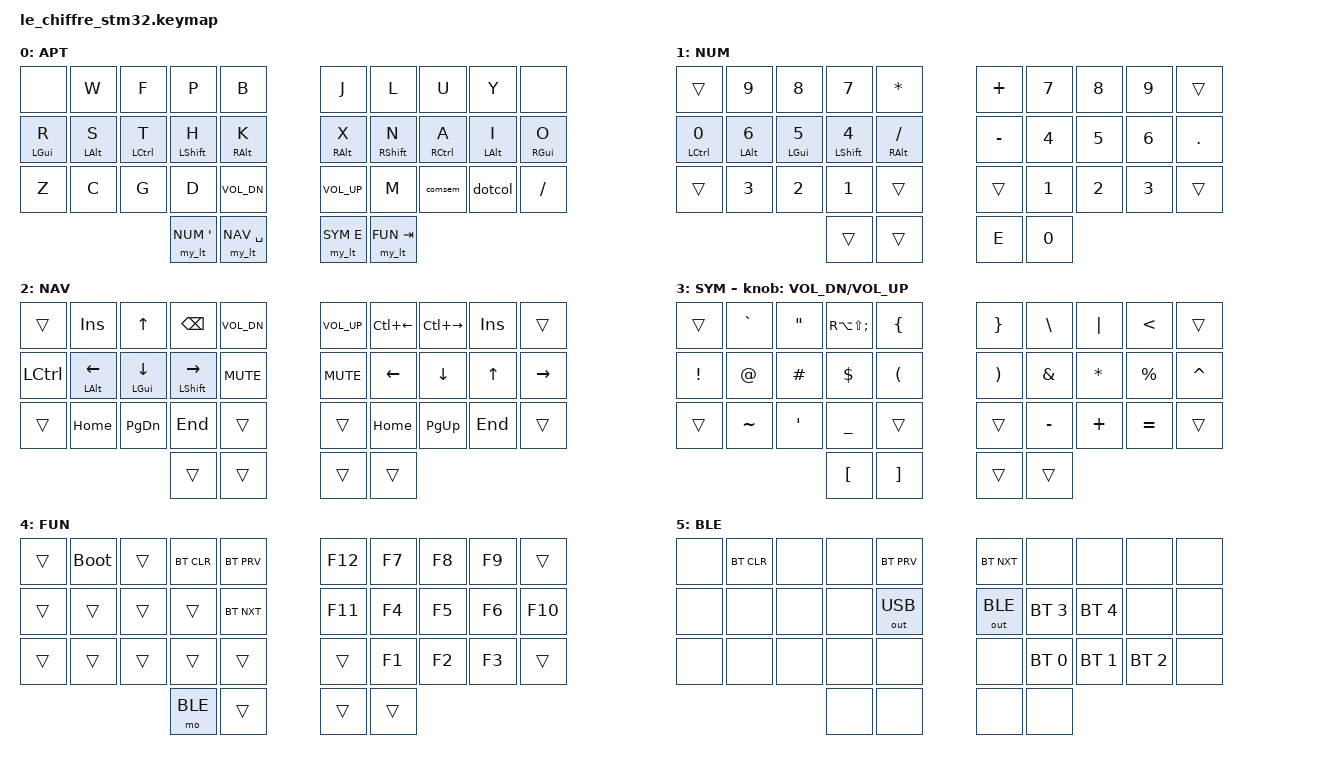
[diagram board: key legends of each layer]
#include <behaviors.dtsi>
#include <dt-bindings/zmk/keys.h>
#include <dt-bindings/zmk/bt.h>
#include <dt-bindings/zmk/outputs.h>

//  _____________________________       _____________________________
// /  0  |  1  |  2  |  3  |  4  \     /  5  |  6  |  7  |  8  |  9  \
// | 10  | 11  | 12  | 13  | 14  | ___ | 15  | 16  | 17  | 18  | 19  |
// \ 20  | 21  | 22  | 23  | 24  ||25 || 26  | 27  | 28  | 29  | 30 /
//         \   31    |    32     /     \    33     |   34    /
//          ---------------------       --------------------

#define APT 0
#define NUM 1
#define NAV 2
#define SYM 3
#define FUN 4
#define BLE 5

// &lt {
//     quick_tap_ms = <170>;
// };

&caps_word {
    continue-list = <UNDERSCORE MINUS BSPC LSHFT RSHFT>;
};

/ {
    macros {
        macro_sch: macro_sch {
            label = "Macro_sch";
            compatible = "zmk,behavior-macro";
            #binding-cells = <0>;
            bindings = <
		    &macro_tap &kp S
		    &macro_release &kp RSHIFT
		    &macro_tap &kp C &kp H
	    >;
        };
    };
};


#define COMBO(NAME, BINDINGS, KEYPOS) \
combo_##NAME { \
    timeout-ms = <20>; \
    bindings = <BINDINGS>; \
    key-positions = <KEYPOS>; \
};

/ {
    combos {
        compatible = "zmk,combos";
/* usually on base layer */
        COMBO(q, &kp Q, 2 3)
        COMBO(z, &kp Z, 21 22)
        COMBO(v, &kp V, 1 2)
        COMBO(sch, &macro_sch, 1 3)
        COMBO(slash, &kp SLASH, 27 28)
        COMBO(dash, &kp MINUS, 26 27)
        COMBO(enter, &kp ENTER, 26 17)
        COMBO(esc, &kp ESC, 22 23)
/* parentheticals */
        COMBO(lbrc, &kp LBRC, 1 11)
        COMBO(lbkt, &kp LBKT, 2 12)
        COMBO(lpar, &kp LPAR, 3 13)
        COMBO(lt, &kp LT, 4 14)
        COMBO(gt, &kp GT, 5 15)
        COMBO(rpar, &kp RPAR, 6 16)
        COMBO(rbkt, &kp RBKT, 7 17)
        COMBO(rbrc, &kp RBRC, 8 18)
/* caps */
        COMBO(caps, &caps_word, 13 16)
        COMBO(capslock, &kp CAPSLOCK, 1 8)
/* deletion */
        COMBO(bspc, &kp BSPC, 12 13)
        COMBO(del, &kp DEL, 7 8)
        COMBO(delword, &kp LC(BSPC), 16 17)
/* alternative shifting */
//  _____________________________       _____________________________
// /  0  |  1  |  2  |  3  |  4  \     /  5  |  6  |  7  |  8  |  9  \
// | 10  | 11  | 12  | 13  | 14  | ___ | 15  | 16  | 17  | 18  | 19  |
// \ 20  | 21  | 22  | 23  | 24  ||   || 25  | 26  | 27  | 28  | 29 /
//         \   30    |    31     /     \    32     |   33    /
//          ---------------------       --------------------
       /* COMBO(Sq, &kp LS(Q), 2 3 32)
        COMBO(Sz, &kp LS(Z), 21 22 32)
        COMBO(Sv, &kp LS(V), 1 2 32)
        COMBO(Sw, &kp LS(W), 1 32)
        COMBO(Sf, &kp LS(F), 2 32)
        COMBO(Sp, &kp LS(P), 3 32)
        COMBO(Sb, &kp LS(B), 4 32)
        COMBO(Sj, &kp LS(J), 5 33)
        COMBO(Sl, &kp LS(L), 6 33)
        COMBO(Su, &kp LS(U), 7 33)
        COMBO(Sy, &kp LS(Y), 8 33)
        COMBO(Sr, &kp LS(R), 10 32)
        COMBO(Ss, &kp LS(S), 11 32)
        COMBO(St, &kp LS(T), 12 32)
        COMBO(Sh, &kp LS(H), 13 32)
        COMBO(Sk, &kp LS(K), 14 32)
        COMBO(Sx, &kp LS(X), 15 33)
        COMBO(Sn, &kp LS(N), 16 33)
        COMBO(Sa, &kp LS(A), 17 33)
        COMBO(Si, &kp LS(I), 18 33)
        COMBO(So, &kp LS(O), 19 33)
        COMBO(Sc, &kp LS(C), 21 32)
        COMBO(Sg, &kp LS(G), 22 32)
        COMBO(Sd, &kp LS(D), 23 32)
        COMBO(Sm, &kp LS(M), 27 33)
        COMBO(Scomma, &kp SEMI, 28 33)
        COMBO(Sdot, &kp COLON, 29 33)
        COMBO(Se, &kp LS(E), 16 17 33)*/
    };
};


/ {

    behaviors {
        hl: homerow_mods_left {
            compatible = "zmk,behavior-hold-tap";
            label = "homerow mods left";
            #binding-cells = <2>;
            // flavor = "tap-preferred";
            flavor = "balanced";
            tapping-term-ms = <150>;
            quick-tap-ms = <100>;
            // global-quick-tap;
            bindings = <&kp>, <&kp>;
            // opposite side hand keys
            hold-trigger-key-positions = <5 6 7 8 9 15 16 17 18 19 25 26 27 28 29 30 33 34>;
        };
        hr: homerow_mods_right {
            compatible = "zmk,behavior-hold-tap";
            label = "homerow mods right";
            #binding-cells = <2>;
            // flavor = "tap-preferred";
            flavor = "balanced";
            tapping-term-ms = <150>;
            quick-tap-ms = <100>;
            // global-quick-tap;
            bindings = <&kp>, <&kp>;
            // opposite side hand keys
            hold-trigger-key-positions = <0 1 2 3 4 10 11 12 13 14 20 21 22 23 24 25 31 32>;
        };

        my_lt: my_layer_taps {
            compatible = "zmk,behavior-hold-tap";
            label = "my layer taps";
            #binding-cells = <2>;
            // flavor = "tap-preferred";
            flavor = "balanced";
            tapping-term-ms = <150>;
            quick-tap-ms = <100>;
            // global-quick-tap;
            bindings = <&mo &kp>, <&kp>;
            // non-thumb keys
            // hold-trigger-key-positions = <0 1 2 3 4 5 6 7 8 9 10 11 12 13 14 15 16 17 18 19 20 21 22 23>;
        };

        dotcol: dot_colon {
            compatible = "zmk,behavior-mod-morph";
            label = "DOT_COL";
            #binding-cells = <0>;
            bindings = <&kp DOT>, <&kp COLON>;
            mods = <(MOD_LSFT|MOD_RSFT)>;
        };
        comsem: comma_semicolon {
            compatible = "zmk,behavior-mod-morph";
            label = "COM_SEM";
            #binding-cells = <0>;
            bindings = <&kp COMMA>, <&kp SEMI>;
            mods = <(MOD_LSFT|MOD_RSFT)>;
        };
    };
};

//  _____________________________       _____________________________
// /  0  |  1  |  2  |  3  |  4  \     /  5  |  6  |  7  |  8  |  9  \
// | 10  | 11  | 12  | 13  | 14  | ___ | 15  | 16  | 17  | 18  | 19  |
// \ 20  | 21  | 22  | 23  | 24  ||25 || 26  | 27  | 28  | 29  | 30 /
//         \   31    |    32     /     \    33     |   34    /
//          ---------------------       --------------------

/ {

    keymap {
        compatible = "zmk,keymap";

        aptmak {
            label = "APT";

            bindings = <
                &none          &kp W          &kp F          &kp P          &kp B                           &kp J          &kp L          &kp U          &kp Y          &none
                &hl LGUI R    &hl LALT S     &hl LCTRL T     &hl LSHFT H    &hl RALT K                      &hr RALT X     &hr RSHFT N    &hr RCTRL A     &hr LALT I     &hr RGUI O
                &kp Z          &kp C          &kp G          &kp D          &kp C_VOL_DN                    &kp C_VOL_UP   &kp M          &comsem        &dotcol        &kp FSLH
                                                             &my_lt NUM SQT &my_lt NAV SPACE                &my_lt SYM E   &my_lt FUN TAB
            >;
			//sensor-bindings = <&inc_dec_kp C_VOL_DN C_VOL_UP>;
        };
        numbers {
            label = "NUM";

            bindings = <
                &trans         &kp N9         &kp N8         &kp N7         &kp ASTERISK                  &kp PLUS       &kp N7         &kp N8         &kp N9         &trans
                &hl LCTRL N0   &hl LALT N6    &hl LGUI N5    &hl LSHFT N4   &hl RALT SLASH                &kp MINUS      &kp N4         &kp N5         &kp N6         &kp DOT
                &trans         &kp N3         &kp N2         &kp N1         &trans                  &trans         &kp N1         &kp N2         &kp N3         &trans
                                                             &trans         &trans                        &kp E          &kp N0
            >;
			//sensor-bindings = <&inc_dec_kp C_VOL_DN C_VOL_UP>;
        };
        navigation {
            label = "NAV";

            bindings = <
                &trans         &kp INSERT     &kp UP         &kp BSPC        &kp C_VOL_DN                 &kp C_VOL_UP   &kp LC(LEFT)   &kp LC(RIGHT)  &kp INSERT     &trans
                &kp LCTRL      &hl LALT LEFT  &hl LGUI DOWN  &hl LSHFT RIGHT &kp C_MUTE                   &kp C_MUTE     &kp LEFT       &kp DOWN       &kp UP         &kp RIGHT
                &trans         &kp HOME       &kp PG_DN      &kp END         &trans                       &trans         &kp HOME       &kp PG_UP      &kp END        &trans
                                                             &trans          &trans                       &trans         &trans
            >;
			//sensor-bindings = <&inc_dec_kp PG_UP PG_DN>;
        };
        symbols {
            label = "SYM";

            bindings = <
                &trans         &kp GRAVE      &kp DQT        &kp RA(LS(SEMI)) &kp LBRC                     &kp RBRC       &kp BACKSLASH  &kp PIPE       &kp LT         &trans
                &kp EXCL       &kp AT         &kp HASH       &kp DOLLAR       &kp LPAR                     &kp RPAR       &kp AMPERSAND  &kp ASTERISK   &kp PERCENT    &kp CARET
                &trans         &kp TILDE      &kp SQT        &kp UNDERSCORE   &trans                       &trans         &kp MINUS      &kp PLUS       &kp EQUAL      &trans
                                                             &kp LBKT         &kp RBKT                     &trans         &trans
            >;
			sensor-bindings = <&inc_dec_kp C_VOL_DN C_VOL_UP>;
        };
        function {
            label = "FUN";

            bindings = <
                &trans         &bootloader    &trans         &bt BT_CLR     &bt BT_PRV                    &kp F12        &kp F7         &kp F8         &kp F9         &trans
                &trans         &trans         &trans         &trans         &bt BT_NXT                    &kp F11        &kp F4         &kp F5         &kp F6         &kp F10
                &trans         &trans         &trans         &trans         &trans                        &trans         &kp F1         &kp F2         &kp F3         &trans
                                                             &mo BLE        &trans                        &trans         &trans
            >;
			//sensor-bindings = <&inc_dec_kp C_VOL_DN C_VOL_UP>;
        };
        wireless {
            label = "BLE";

            bindings = <
                &none          &bt BT_CLR     &none          &none          &bt BT_PRV                    &bt BT_NXT     &none          &none          &none          &none
                &none          &none          &none          &none          &out OUT_USB                  &out OUT_BLE   &bt BT_SEL 3   &bt BT_SEL 4   &none          &none
                &none          &none          &none          &none          &none                         &none          &bt BT_SEL 0   &bt BT_SEL 1   &bt BT_SEL 2   &none
                                                             &none          &none                         &none          &none
            >;
			//sensor-bindings = <&inc_dec_kp C_VOL_DN C_VOL_UP>;
        };

    };
};

//  _____________________________       _____________________________
// /  0  |  1  |  2  |  3  |  4  \     /  5  |  6  |  7  |  8  |  9  \
// | 10  | 11  | 12  | 13  | 14  | ___ | 15  | 16  | 17  | 18  | 19  |
// \ 20  | 21  | 22  | 23  | 24  ||25 || 26  | 27  | 28  | 29  | 30 /
//         \   31    |    32     /     \    33     |   34    /
//          ---------------------       --------------------
